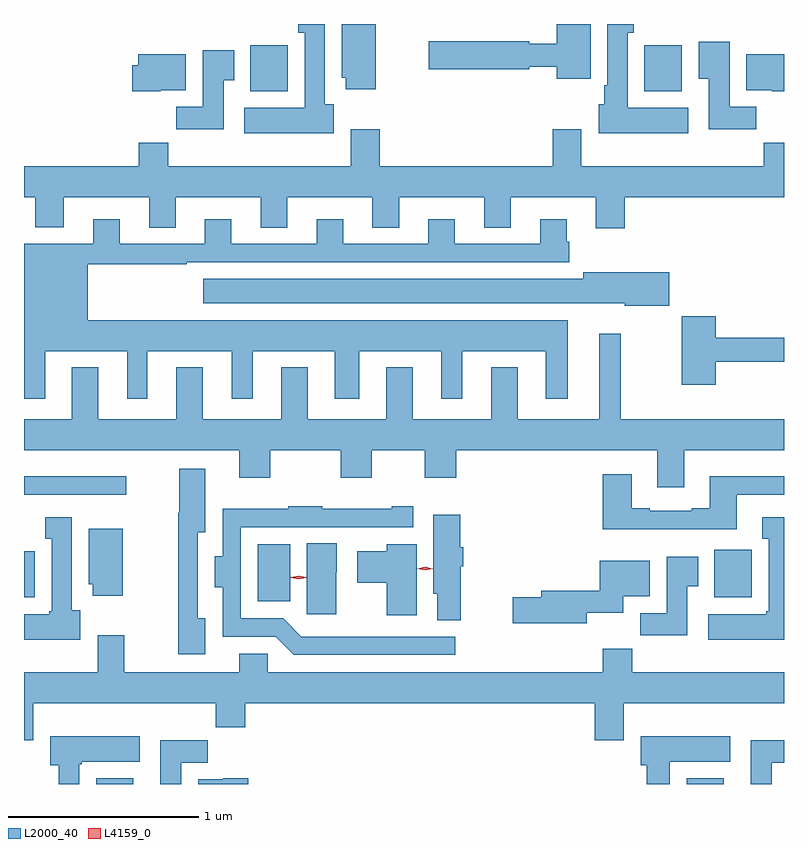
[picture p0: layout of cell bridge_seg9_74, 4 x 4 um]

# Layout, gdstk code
import gdstk
lib = gdstk.Library(unit=1e-6, precision=1e-09)
def R(c, l, rs):  # rectangles x0, y0, x1, y1
    for r in rs: c.add(gdstk.rectangle(r[:2], r[2:], *l))
def P(c, l, *ps):  # polygons
    for p in ps: c.add(gdstk.Polygon(p, *l))
L2000_40 = (2000, 40)
L4159_0 = (4159, 0)

bridge_seg9_74 = lib.new_cell('bridge_seg9_74')
R(bridge_seg9_74, L2000_40, [(1113.746,1221.304,1113.943,1221.334), (1116.855,1221.304,1117.051,1221.334), (1114.598,1222.265,1114.768,1222.567), (1113.367,1222.286,1113.424,1222.528), (1117.001,1222.286,1117.197,1222.537), (1113.367,1222.827,1113.904,1222.924), (1114.559,1224.95,1114.756,1225.192), (1116.632,1224.95,1116.829,1225.192)])
P(bridge_seg9_74, L2000_40, [(1116.349,1225.304),(1116.17,1225.304),(1116.17,1225.201),(1116.027,1225.201),(1116.027,1225.214),(1115.496,1225.214),(1115.496,1225.067),(1116.027,1225.067),(1116.027,1225.08),(1116.17,1225.08),(1116.17,1225.016),(1116.349,1225.016)],
  [(1114.996,1224.882),(1114.951,1224.882),(1114.951,1225.304),(1114.811,1225.304),(1114.811,1225.259),(1114.844,1225.259),(1114.844,1224.862),(1114.527,1224.862),(1114.527,1224.728),(1114.996,1224.728)],
  [(1115.218,1225.304),(1115.039,1225.304),(1115.039,1225.02),(1115.06,1225.02),(1115.06,1224.96),(1115.218,1224.96)],
  [(1116.862,1224.862),(1116.544,1224.862),(1116.544,1225.259),(1116.577,1225.259),(1116.577,1225.304),(1116.437,1225.304),(1116.437,1224.982),(1116.422,1224.982),(1116.422,1224.882),(1116.392,1224.882),(1116.392,1224.728),(1116.862,1224.728)],
  [(1117.22,1224.868),(1117.081,1224.868),(1117.081,1225.21),(1116.917,1225.21),(1116.917,1225.016),(1116.971,1225.016),(1116.971,1224.75),(1117.22,1224.75)],
  [(1114.417,1225.009),(1114.474,1225.009),(1114.474,1225.165),(1114.307,1225.165),(1114.307,1224.868),(1114.168,1224.868),(1114.168,1224.75),(1114.417,1224.75)],
  [(1114.086,1224.956),(1114.219,1224.956),(1114.219,1225.144),(1113.968,1225.144),(1113.968,1225.086),(1113.938,1225.086),(1113.938,1224.95),(1114.086,1224.95)],
  [(1117.367,1225.144),(1117.169,1225.144),(1117.169,1224.956),(1117.302,1224.956),(1117.302,1224.95),(1117.367,1224.95)],
  [(1116.53,1224.392),(1117.367,1224.392),(1117.367,1224.68),(1117.261,1224.68),(1117.261,1224.556),(1116.301,1224.556),(1116.301,1224.751),(1116.149,1224.751),(1116.149,1224.556),(1115.24,1224.556),(1115.24,1224.751),(1115.087,1224.751),(1115.087,1224.556),(1114.127,1224.556),(1114.127,1224.68),(1113.971,1224.68),(1113.971,1224.556),(1113.367,1224.556),(1113.367,1224.392),(1113.425,1224.392),(1113.425,1224.233),(1113.577,1224.233),(1113.577,1224.392),(1114.025,1224.392),(1114.025,1224.232),(1114.165,1224.232),(1114.165,1224.392),(1114.613,1224.392),(1114.613,1224.232),(1114.753,1224.232),(1114.753,1224.392),(1115.201,1224.392),(1115.201,1224.232),(1115.341,1224.232),(1115.341,1224.392),(1115.789,1224.392),(1115.789,1224.232),(1115.929,1224.232),(1115.929,1224.392),(1116.377,1224.392),(1116.377,1224.228),(1116.53,1224.228)],
  [(1113.478,1223.582),(1113.911,1223.582),(1113.911,1223.331),(1114.015,1223.331),(1114.015,1223.582),(1114.46,1223.582),(1114.46,1223.331),(1114.57,1223.331),(1114.57,1223.582),(1115.003,1223.582),(1115.003,1223.331),(1115.131,1223.331),(1115.131,1223.582),(1115.564,1223.582),(1115.564,1223.331),(1115.674,1223.331),(1115.674,1223.582),(1116.113,1223.582),(1116.113,1223.331),(1116.229,1223.331),(1116.229,1223.746),(1113.703,1223.746),(1113.703,1224.039),(1114.223,1224.039),(1114.223,1224.051),(1116.236,1224.051),(1116.236,1224.159),(1116.223,1224.159),(1116.223,1224.277),(1116.083,1224.277),(1116.083,1224.147),(1115.635,1224.147),(1115.635,1224.277),(1115.495,1224.277),(1115.495,1224.147),(1115.047,1224.147),(1115.047,1224.277),(1114.907,1224.277),(1114.907,1224.147),(1114.459,1224.147),(1114.459,1224.277),(1114.319,1224.277),(1114.319,1224.147),(1113.871,1224.147),(1113.871,1224.277),(1113.731,1224.277),(1113.731,1224.148),(1113.367,1224.148),(1113.367,1223.331),(1113.478,1223.331)],
  [(1116.763,1223.998),(1116.311,1223.998),(1116.311,1223.962),(1114.311,1223.962),(1114.311,1223.834),(1116.528,1223.834),(1116.528,1223.822),(1116.763,1223.822)],
  [(1117.007,1223.526),(1117.367,1223.526),(1117.367,1223.654),(1117.007,1223.654),(1117.007,1223.767),(1116.829,1223.767),(1116.829,1223.406),(1117.007,1223.406)],
  [(1116.841,1223.06),(1117.367,1223.06),(1117.367,1223.224),(1116.509,1223.224),(1116.509,1223.674),(1116.395,1223.674),(1116.395,1223.224),(1115.965,1223.224),(1115.965,1223.497),(1115.825,1223.497),(1115.825,1223.224),(1115.413,1223.224),(1115.413,1223.497),(1115.273,1223.497),(1115.273,1223.224),(1114.861,1223.224),(1114.861,1223.497),(1114.721,1223.497),(1114.721,1223.224),(1114.309,1223.224),(1114.309,1223.497),(1114.169,1223.497),(1114.169,1223.224),(1113.757,1223.224),(1113.757,1223.497),(1113.617,1223.497),(1113.617,1223.224),(1113.367,1223.224),(1113.367,1223.06),(1114.499,1223.06),(1114.499,1222.917),(1114.663,1222.917),(1114.663,1223.06),(1115.033,1223.06),(1115.033,1222.917),(1115.197,1222.917),(1115.197,1223.06),(1115.477,1223.06),(1115.477,1222.917),(1115.641,1222.917),(1115.641,1223.06),(1116.701,1223.06),(1116.701,1222.866),(1116.841,1222.866)],
  [(1114.321,1222.177),(1114.281,1222.177),(1114.281,1222.628),(1114.321,1222.628),(1114.321,1222.963),(1114.184,1222.963),(1114.184,1222.732),(1114.18,1222.732),(1114.18,1221.987),(1114.321,1221.987)],
  [(1117.117,1222.827),(1117.367,1222.827),(1117.367,1222.924),(1116.977,1222.924),(1116.977,1222.756),(1116.881,1222.756),(1116.881,1222.743),(1116.661,1222.743),(1116.661,1222.756),(1116.565,1222.756),(1116.565,1222.933),(1116.413,1222.933),(1116.413,1222.646),(1117.117,1222.646)],
  [(1115.638,1222.08),(1114.827,1222.08),(1114.731,1222.176),(1114.509,1222.176),(1114.509,1222.656),(1115.416,1222.656),(1115.416,1222.765),(1115.303,1222.765),(1115.303,1222.753),(1114.937,1222.753),(1114.937,1222.765),(1114.759,1222.765),(1114.759,1222.753),(1114.413,1222.753),(1114.413,1222.504),(1114.37,1222.504),(1114.37,1222.34),(1114.412,1222.34),(1114.412,1222.08),(1114.692,1222.08),(1114.788,1221.984),(1115.638,1221.984)],
  [(1115.665,1222.451),(1115.678,1222.451),(1115.678,1222.551),(1115.663,1222.551),(1115.663,1222.72),(1115.522,1222.72),(1115.522,1222.305),(1115.543,1222.305),(1115.543,1222.167),(1115.665,1222.167)],
  [(1113.664,1222.218),(1113.619,1222.218),(1113.619,1222.708),(1113.479,1222.708),(1113.479,1222.595),(1113.512,1222.595),(1113.512,1222.212),(1113.499,1222.212),(1113.499,1222.198),(1113.367,1222.198),(1113.367,1222.064),(1113.664,1222.064)],
  [(1117.367,1222.708),(1117.253,1222.708),(1117.253,1222.595),(1117.286,1222.595),(1117.286,1222.212),(1117.273,1222.212),(1117.273,1222.198),(1116.969,1222.198),(1116.969,1222.064),(1117.367,1222.064)],
  [(1113.886,1222.648),(1113.707,1222.648),(1113.707,1222.356),(1113.728,1222.356),(1113.728,1222.296),(1113.886,1222.296)],
  [(1115.011,1222.419),(1115.014,1222.419),(1115.014,1222.571),(1114.856,1222.571),(1114.856,1222.197),(1115.011,1222.197)],
  [(1115.434,1222.567),(1115.276,1222.567),(1115.276,1222.528),(1115.121,1222.528),(1115.121,1222.364),(1115.276,1222.364),(1115.276,1222.191),(1115.434,1222.191)],
  [(1116.859,1222.345),(1116.916,1222.345),(1116.916,1222.501),(1116.749,1222.501),(1116.749,1222.204),(1116.61,1222.204),(1116.61,1222.086),(1116.859,1222.086)],
  [(1116.328,1222.205),(1116.52,1222.205),(1116.52,1222.292),(1116.661,1222.292),(1116.661,1222.48),(1116.398,1222.48),(1116.398,1222.322),(1116.089,1222.322),(1116.089,1222.286),(1115.94,1222.286),(1115.94,1222.151),(1116.328,1222.151)],
  [(1113.415,1221.728),(1114.375,1221.728),(1114.375,1221.604),(1114.532,1221.604),(1114.532,1221.728),(1116.371,1221.728),(1116.371,1221.534),(1116.523,1221.534),(1116.523,1221.728),(1117.367,1221.728),(1117.367,1221.892),(1116.569,1221.892),(1116.569,1222.016),(1116.413,1222.016),(1116.413,1221.892),(1114.65,1221.892),(1114.65,1221.99),(1114.499,1221.99),(1114.499,1221.892),(1113.895,1221.892),(1113.895,1222.087),(1113.755,1222.087),(1113.755,1221.892),(1113.367,1221.892),(1113.367,1221.534),(1113.415,1221.534)],
  [(1113.658,1221.409),(1113.672,1221.409),(1113.672,1221.422),(1113.976,1221.422),(1113.976,1221.556),(1113.506,1221.556),(1113.506,1221.402),(1113.551,1221.402),(1113.551,1221.304),(1113.658,1221.304)],
  [(1116.766,1221.422),(1117.084,1221.422),(1117.084,1221.556),(1116.614,1221.556),(1116.614,1221.402),(1116.644,1221.402),(1116.644,1221.304),(1116.766,1221.304)],
  [(1117.303,1221.416),(1117.367,1221.416),(1117.367,1221.535),(1117.193,1221.535),(1117.193,1221.304),(1117.303,1221.304)],
  [(1114.195,1221.416),(1114.334,1221.416),(1114.334,1221.535),(1114.085,1221.535),(1114.085,1221.304),(1114.195,1221.304)],
  [(1114.547,1221.334),(1114.416,1221.334),(1114.416,1221.328),(1114.283,1221.328),(1114.283,1221.304),(1114.547,1221.304)])
P(bridge_seg9_74, L4159_0, [(1115.478,1222.428),(1115.438,1222.437),(1115.438,1222.438),(1115.438,1222.438),(1115.478,1222.448),(1115.518,1222.438),(1115.518,1222.438),(1115.518,1222.438)],
  [(1114.812,1222.381),(1114.771,1222.39),(1114.771,1222.391),(1114.771,1222.391),(1114.812,1222.401),(1114.852,1222.391),(1114.852,1222.391),(1114.852,1222.39)])

lib.write_gds('bridge_seg9_74.gds')
